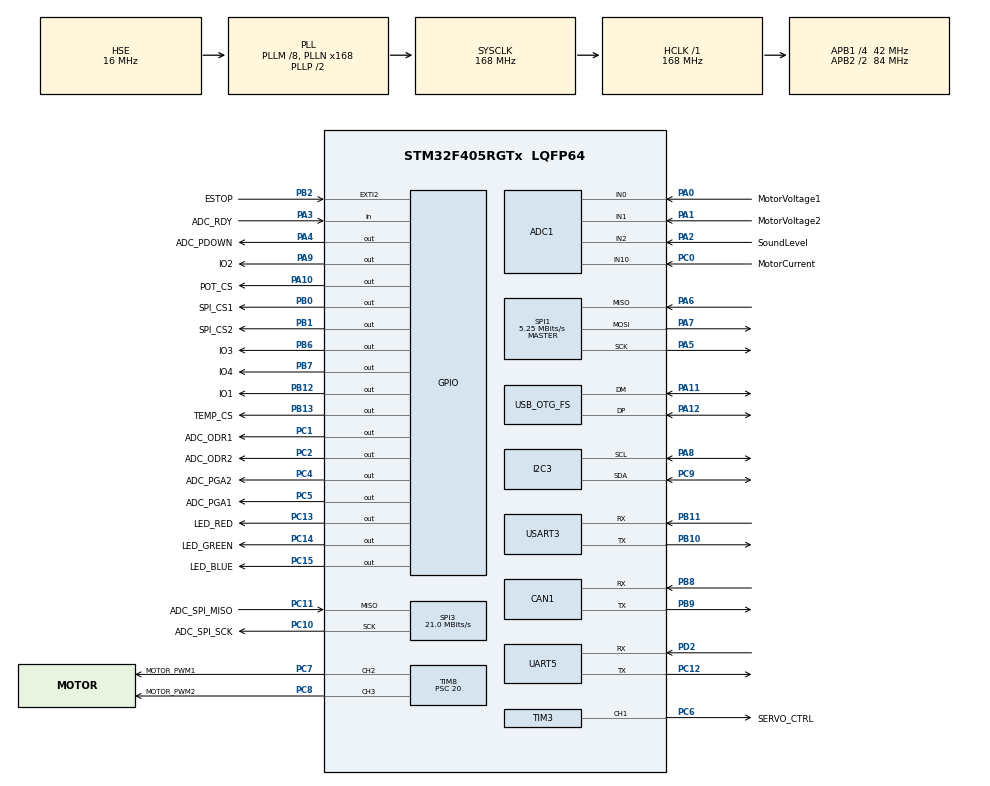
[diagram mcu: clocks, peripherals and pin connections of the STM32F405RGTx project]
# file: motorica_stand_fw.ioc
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ADC1.Channel-0\#ChannelRegularConversion=ADC_CHANNEL_0
ADC1.Channel-1\#ChannelRegularConversion=ADC_CHANNEL_1
ADC1.Channel-2\#ChannelRegularConversion=ADC_CHANNEL_2
ADC1.Channel-3\#ChannelRegularConversion=ADC_CHANNEL_10
ADC1.ContinuousConvMode=ENABLE
ADC1.EOCSelection=ADC_EOC_SEQ_CONV
ADC1.EnableAnalogWatchDog=true
ADC1.HighThreshold=1000
ADC1.ITMode=ENABLE
ADC1.NbrOfConversion=4
ADC1.NbrOfConversionFlag=1
ADC1.Rank-0\#ChannelRegularConversion=1
ADC1.Rank-1\#ChannelRegularConversion=2
ADC1.Rank-2\#ChannelRegularConversion=3
ADC1.Rank-3\#ChannelRegularConversion=4
ADC1.SamplingTime-0\#ChannelRegularConversion=ADC_SAMPLETIME_15CYCLES
ADC1.SamplingTime-1\#ChannelRegularConversion=ADC_SAMPLETIME_15CYCLES
ADC1.SamplingTime-2\#ChannelRegularConversion=ADC_SAMPLETIME_15CYCLES
ADC1.SamplingTime-3\#ChannelRegularConversion=ADC_SAMPLETIME_15CYCLES
ADC1.ScanConvMode=ENABLE
ADC1.WatchdogChannel=ADC_CHANNEL_10
ADC1.master=1
CAN1.BS1=CAN_BS1_1TQ
CAN1.BS2=CAN_BS2_1TQ
CAN1.CalculateTimeQuantum=380.95238095238096
Dma.ADC1.0.Direction=DMA_PERIPH_TO_MEMORY
Dma.ADC1.0.FIFOMode=DMA_FIFOMODE_DISABLE
Dma.ADC1.0.Instance=DMA2_Stream0
Dma.ADC1.0.MemDataAlignment=DMA_MDATAALIGN_HALFWORD
Dma.ADC1.0.MemInc=DMA_MINC_ENABLE
Dma.ADC1.0.Mode=DMA_NORMAL
Dma.ADC1.0.PeriphDataAlignment=DMA_PDATAALIGN_HALFWORD
Dma.ADC1.0.PeriphInc=DMA_PINC_DISABLE
Dma.ADC1.0.Priority=DMA_PRIORITY_LOW
Dma.Request0=ADC1
Mcu.Family=STM32F4
Mcu.Name=STM32F405RGTx
Mcu.Package=LQFP64
NVIC.ADC_IRQn=true\:0\:0\:false\:false\:true\:true\:true
NVIC.DMA2_Stream0_IRQn=true\:0\:0\:false\:false\:true\:false\:true
NVIC.EXTI2_IRQn=true\:0\:0\:false\:false\:true\:true\:true
NVIC.OTG_FS_IRQn=true\:0\:0\:false\:false\:true\:false\:true
NVIC.PriorityGroup=NVIC_PRIORITYGROUP_4
PA0-WKUP.GPIO_Label=MotorVoltage1
PA0-WKUP.Signal=ADCx_IN0
PA1.GPIO_Label=MotorVoltage2
PA1.Signal=ADCx_IN1
PA10.GPIO_Label=POT_CS
PA10.Signal=GPIO_Output
PA11.Mode=Device_Only
PA11.Signal=USB_OTG_FS_DM
PA12.Mode=Device_Only
PA12.Signal=USB_OTG_FS_DP
PA13.Mode=Trace_Asynchronous_SW
PA13.Signal=SYS_JTMS-SWDIO
PA14.Mode=Trace_Asynchronous_SW
PA14.Signal=SYS_JTCK-SWCLK
PA2.GPIO_Label=SoundLevel
PA2.Signal=ADCx_IN2
PA3.GPIO_Label=ADC_RDY
PA3.Signal=GPIO_Input
PA4.GPIO_Label=ADC_PDOWN
PA4.Signal=GPIO_Output
PA5.Mode=Full_Duplex_Master
PA5.Signal=SPI1_SCK
PA6.Mode=Full_Duplex_Master
PA6.Signal=SPI1_MISO
PA7.Mode=Full_Duplex_Master
PA7.Signal=SPI1_MOSI
PA8.Mode=I2C
PA8.Signal=I2C3_SCL
PA9.GPIO_Label=IO2
PA9.Signal=GPIO_Output
PB0.GPIO_Label=SPI_CS1
PB0.Signal=GPIO_Output
PB1.GPIO_Label=SPI_CS2
PB1.Signal=GPIO_Output
PB10.Mode=Asynchronous
PB10.Signal=USART3_TX
PB11.Mode=Asynchronous
PB11.Signal=USART3_RX
PB12.GPIO_Label=IO1
PB12.Signal=GPIO_Output
PB13.GPIO_Label=TEMP_CS
PB13.Signal=GPIO_Output
PB2.GPIO_Label=ESTOP
PB2.GPIO_ModeDefaultEXTI=GPIO_MODE_IT_FALLING
PB2.Signal=GPXTI2
PB3.Mode=Trace_Asynchronous_SW
PB3.Signal=SYS_JTDO-SWO
PB6.GPIO_Label=IO3
PB6.Signal=GPIO_Output
PB7.GPIO_Label=IO4
PB7.Signal=GPIO_Output
PB8.Mode=Master
PB8.Signal=CAN1_RX
PB9.Mode=Master
PB9.Signal=CAN1_TX
PC0.GPIO_Label=MotorCurrent
PC0.Signal=ADCx_IN10
PC1.GPIO_Label=ADC_ODR1
PC1.Signal=GPIO_Output
PC10.GPIO_Label=ADC_SPI_SCK
PC10.Mode=RX_Only_Simplex_Unidirect_Master
PC10.Signal=SPI3_SCK
PC11.GPIO_Label=ADC_SPI_MISO
PC11.Mode=RX_Only_Simplex_Unidirect_Master
PC11.Signal=SPI3_MISO
PC12.Mode=Asynchronous
PC12.Signal=UART5_TX
PC13-ANTI_TAMP.GPIO_Label=LED_RED
PC13-ANTI_TAMP.Signal=GPIO_Output
PC14-OSC32_IN.GPIO_Label=LED_GREEN
PC14-OSC32_IN.Signal=GPIO_Output
PC15-OSC32_OUT.GPIO_Label=LED_BLUE
PC15-OSC32_OUT.Signal=GPIO_Output
PC2.GPIO_Label=ADC_ODR2
PC2.Signal=GPIO_Output
PC4.GPIO_Label=ADC_PGA2
PC4.Signal=GPIO_Output
PC5.GPIO_Label=ADC_PGA1
PC5.Signal=GPIO_Output
PC6.GPIO_Label=SERVO_CTRL
PC6.Signal=S_TIM3_CH1
PC7.GPIO_Label=MOTOR_PWM1
PC7.Signal=S_TIM8_CH2
PC8.GPIO_Label=MOTOR_PWM2
PC8.Signal=S_TIM8_CH3
PC9.Mode=I2C
PC9.Signal=I2C3_SDA
PD2.Mode=Asynchronous
PD2.Signal=UART5_RX
PH0-OSC_IN.Mode=HSE-External-Oscillator
PH0-OSC_IN.Signal=RCC_OSC_IN
PH1-OSC_OUT.Mode=HSE-External-Oscillator
PH1-OSC_OUT.Signal=RCC_OSC_OUT
ProjectManager.HeapSize=0x100
ProjectManager.StackSize=0x800
ProjectManager.TargetToolchain=Makefile
RCC.48MHZClocksFreq_Value=48000000
RCC.AHBFreq_Value=168000000
RCC.APB1CLKDivider=RCC_HCLK_DIV4
RCC.APB1Freq_Value=42000000
RCC.APB1TimFreq_Value=84000000
RCC.APB2CLKDivider=RCC_HCLK_DIV2
RCC.APB2Freq_Value=84000000
RCC.APB2TimFreq_Value=168000000
RCC.CortexFreq_Value=168000000
RCC.HCLKFreq_Value=168000000
RCC.HSE_VALUE=16000000
RCC.HSI_VALUE=16000000
RCC.LSE_VALUE=32768
RCC.PLLM=8
RCC.PLLN=168
RCC.PLLQ=7
RCC.SYSCLKFreq_VALUE=168000000
RCC.SYSCLKSource=RCC_SYSCLKSOURCE_PLLCLK
RCC.VCOOutputFreq_Value=336000000
SH.ADCx_IN0.0=ADC1_IN0,IN0
SH.ADCx_IN1.0=ADC1_IN1,IN1
SH.ADCx_IN10.0=ADC1_IN10,IN10
SH.ADCx_IN2.0=ADC1_IN2,IN2
SH.S_TIM3_CH1.0=TIM3_CH1,PWM Generation1 CH1
SH.S_TIM8_CH2.0=TIM8_CH2,PWM Generation2 CH2
SH.S_TIM8_CH3.0=TIM8_CH3,PWM Generation3 CH3
SPI1.BaudRatePrescaler=SPI_BAUDRATEPRESCALER_16
SPI1.CalculateBaudRate=5.25 MBits/s
SPI1.Direction=SPI_DIRECTION_2LINES
SPI1.Mode=SPI_MODE_MASTER
SPI1.VirtualType=VM_MASTER
SPI3.BaudRatePrescaler=SPI_BAUDRATEPRESCALER_2
SPI3.CalculateBaudRate=21.0 MBits/s
SPI3.Direction=SPI_DIRECTION_2LINES_RXONLY
SPI3.Mode=SPI_MODE_MASTER
SPI3.VirtualType=VM_MASTER
TIM3.Channel-PWM\ Generation1\ CH1=TIM_CHANNEL_1
TIM3.Period=999
TIM3.Prescaler=83
TIM8.Channel-PWM\ Generation2\ CH2=TIM_CHANNEL_2
TIM8.Channel-PWM\ Generation3\ CH3=TIM_CHANNEL_3
TIM8.Period=999
TIM8.Prescaler=20
UART5.VirtualMode=Asynchronous
USART3.VirtualMode=VM_ASYNC
USB_DEVICE.CLASS_NAME_FS=CUSTOM_HID
USB_DEVICE.CONFIGURATION_STRING_CUSTOMHID_FS=v1.0
USB_DEVICE.CUSTOM_HID_FS_BINTERVAL=0x1
USB_DEVICE.INTERFACE_STRING_CUSTOMHID_FS=HID
USB_DEVICE.MANUFACTURER_STRING-CUSTOM_HID_FS=Motorica
USB_DEVICE.PID_CUSTOMHID_FS=1000
USB_DEVICE.PRODUCT_STRING_CUSTOMHID_FS=Motorica stand
USB_DEVICE.USBD_CUSTOMHID_OUTREPORT_BUF_SIZE-CUSTOM_HID_FS=64
USB_DEVICE.USBD_CUSTOM_HID_REPORT_DESC_SIZE-CUSTOM_HID_FS=27
USB_DEVICE.USBD_MAX_STR_DESC_SIZ-CUSTOM_HID_FS=128
USB_DEVICE.VID-CUSTOM_HID_FS=9088
USB_DEVICE.VirtualMode-CUSTOM_HID_FS=CustomHid
USB_DEVICE.VirtualModeFS=Custom_Hid_FS
USB_OTG_FS.VirtualMode=Device_Only
VP_TIM8_VS_ClockSourceINT.Mode=Internal
VP_USB_DEVICE_VS_USB_DEVICE_CUSTOM_HID_FS.Mode=CUSTOM_HID_FS
board=custom

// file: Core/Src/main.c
/* USER CODE BEGIN Header */
/**
  ******************************************************************************
  * @file           : main.c
  * @brief          : Main program body
  ******************************************************************************
  * @attention
  *
  * <h2><center>&copy; Copyright (c) 2020 STMicroelectronics.
  * All rights reserved.</center></h2>
  *
  * This software component is licensed by ST under BSD 3-Clause license,
  * the "License"; You may not use this file except in compliance with the
  * License. You may obtain a copy of the License at:
  *                        opensource.org/licenses/BSD-3-Clause
  *
  ******************************************************************************
  */
/* USER CODE END Header */
#include "main.h"
#include "adc.h"
#include "can.h"
#include "dma.h"
#include "i2c.h"
#include "spi.h"
#include "tim.h"
#include "usart.h"
#include "usb_device.h"
#include "gpio.h"

/* USER CODE BEGIN Includes */
#include "flash.h"
#include "motorica_stand_bsp.h"
/* USER CODE END Includes */

/* USER CODE BEGIN PV */
struct AnalogData
{
	int16_t motorVoltage1;
	int16_t motorVoltage2;
	int16_t soundLevel;
	int16_t motorCurrent;
} adcData;
/* USER CODE END PV */

void SystemClock_Config(void);

int main(void)
{

  /* MCU Configuration--------------------------------------------------------*/

  /* Reset of all peripherals, Initializes the Flash interface and the Systick. */
  HAL_Init();

  /* Configure the system clock */
  SystemClock_Config();

  /* USER CODE BEGIN SysInit */
  srand(297438243);
  /* USER CODE END SysInit */

  /* Initialize all configured peripherals */
  MX_GPIO_Init();
  MX_DMA_Init();
  MX_SPI1_Init();
  MX_TIM8_Init();
  MX_USART3_UART_Init();
  MX_ADC1_Init();
  MX_I2C3_Init();
  MX_TIM3_Init();
  MX_UART5_Init();
  MX_CAN1_Init();
  MX_SPI3_Init();
  MX_USB_DEVICE_Init();
  /* USER CODE BEGIN 2 */

	HAL_GPIO_WritePin(POT_CS_GPIO_Port, POT_CS_Pin, GPIO_PIN_SET);
	HAL_GPIO_WritePin(TEMP_CS_GPIO_Port, TEMP_CS_Pin, GPIO_PIN_SET);
	HAL_GPIO_WritePin(SPI_CS1_GPIO_Port, SPI_CS1_Pin, GPIO_PIN_SET);
	HAL_GPIO_WritePin(SPI_CS2_GPIO_Port, SPI_CS2_Pin, GPIO_PIN_SET);

	GPIO_InitTypeDef io;
	io.Mode = GPIO_MODE_OUTPUT_PP;
	io.Speed = GPIO_SPEED_HIGH;
	io.Pin = GPIO_PIN_7 | GPIO_PIN_8;
	HAL_GPIO_Init(GPIOC, &io);
	io.Pin = GPIO_PIN_14 | GPIO_PIN_15;
	HAL_GPIO_Init(GPIOB, &io);
  HAL_ADC_Start_DMA(&hadc1, (uint32_t*)&adcData, 4);
  /* USER CODE END 2 */

  /* Infinite loop */
  /* USER CODE BEGIN WHILE */
  BSP_Init();

  while (1)
  {
	  MainThread();
    /* USER CODE END WHILE */

  }
}

void SystemClock_Config(void)
{
  RCC_OscInitTypeDef RCC_OscInitStruct = {0};
  RCC_ClkInitTypeDef RCC_ClkInitStruct = {0};

  /** Configure the main internal regulator output voltage
  */
  __HAL_RCC_PWR_CLK_ENABLE();
  __HAL_PWR_VOLTAGESCALING_CONFIG(PWR_REGULATOR_VOLTAGE_SCALE1);
  /** Initializes the RCC Oscillators according to the specified parameters
  * in the RCC_OscInitTypeDef structure.
  */
  RCC_OscInitStruct.OscillatorType = RCC_OSCILLATORTYPE_HSE;
  RCC_OscInitStruct.HSEState = RCC_HSE_ON;
  RCC_OscInitStruct.PLL.PLLState = RCC_PLL_ON;
  RCC_OscInitStruct.PLL.PLLSource = RCC_PLLSOURCE_HSE;
  RCC_OscInitStruct.PLL.PLLM = 8;
  RCC_OscInitStruct.PLL.PLLN = 168;
  RCC_OscInitStruct.PLL.PLLP = RCC_PLLP_DIV2;
  RCC_OscInitStruct.PLL.PLLQ = 7;
  if (HAL_RCC_OscConfig(&RCC_OscInitStruct) != HAL_OK)
  {
    Error_Handler();
  }
  /** Initializes the CPU, AHB and APB buses clocks
  */
  RCC_ClkInitStruct.ClockType = RCC_CLOCKTYPE_HCLK|RCC_CLOCKTYPE_SYSCLK
                              |RCC_CLOCKTYPE_PCLK1|RCC_CLOCKTYPE_PCLK2;
  RCC_ClkInitStruct.SYSCLKSource = RCC_SYSCLKSOURCE_PLLCLK;
  RCC_ClkInitStruct.AHBCLKDivider = RCC_SYSCLK_DIV1;
  RCC_ClkInitStruct.APB1CLKDivider = RCC_HCLK_DIV4;
  RCC_ClkInitStruct.APB2CLKDivider = RCC_HCLK_DIV2;

  if (HAL_RCC_ClockConfig(&RCC_ClkInitStruct, FLASH_LATENCY_5) != HAL_OK)
  {
    Error_Handler();
  }
}

void Error_Handler(void)
{
}

/************************ (C) COPYRIGHT STMicroelectronics *****END OF FILE****/
